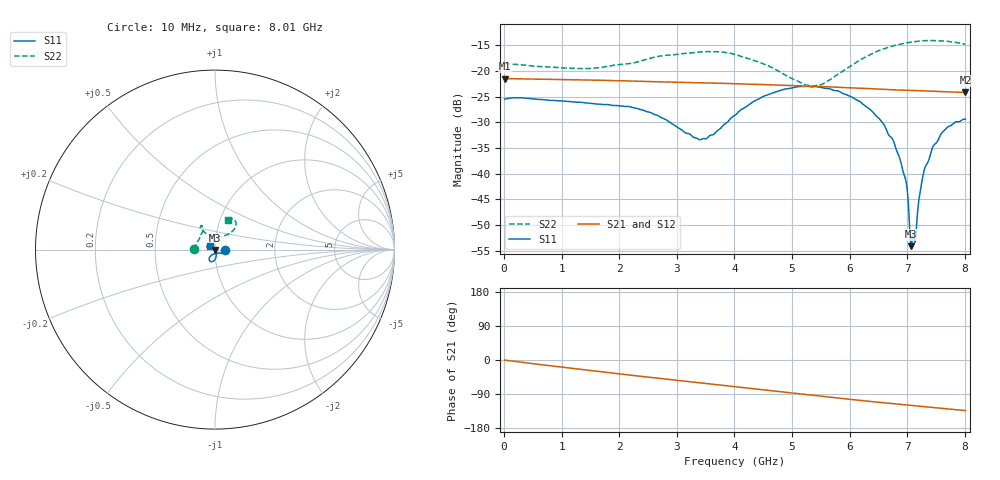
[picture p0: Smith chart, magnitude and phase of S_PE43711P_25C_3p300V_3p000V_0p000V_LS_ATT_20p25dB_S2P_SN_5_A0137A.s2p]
! Device ID: PE43711P
! File Path: z:\PE43711P\CHAR_NOM_04282014\AMB\3p300\LS_ATT_20p25dB\PE43711P_AMB_3p300V_3p000V_0p000V_LS_ATT_20p25dB_S2P_SN_5_A0137A.s2p
! Serial: 5
! Lot: A0137A
! Temp: 25C
! VDD: 3.300
! VSS: 0.000
! Control_Hi: 3.000
! Control_Lo: 0.000
! Attenuation Step: 20.25dB
! Port 1: RF1
! Port 2: RF2
! ThroughPath:1-2
! IDD: 0.0001272719
! ISS: -1.171e-007
#  Hz  S  RI  R  50
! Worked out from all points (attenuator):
!   801 points, 10 MHz to 8.01 GHz, reference 50 ohm
!   highest |S21| = -21.46 dB at 10 MHz (marker M1); lowest = -24.2 dB at 8.01 GHz (marker M2)
!   lowest |S11| = -54.1 dB at 7.07 GHz (marker M3), VSWR 1.00, Z = 49.9 - j0.168 ohm
!   |S11| at or under -10 dB: start of sweep to end of sweep
!   |S22| runs from -23.0 to -14.0 dB; largest |S21 - S12| = 0.00019
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1e7  0.0532 0.000175  0.0845 -0.000388  0.0846 -0.000402  -0.1189 0.000961
1.35e9  0.0458 -0.0188  0.0745 -0.0347  0.0746 -0.0347  -0.0921 0.0519
2.17e9  0.0395 -0.0218  0.0619 -0.051  0.0619 -0.051  -0.0723 0.0935
2.68e9  0.0308 -0.0199  0.0525 -0.0587  0.0526 -0.0587  -0.0691 0.121
3.41e9  0.00531 -0.0208  0.0377 -0.0668  0.0377 -0.0668  -0.0745 0.1347
3.65e9  -0.00539 -0.0238  0.0328 -0.0688  0.0328 -0.0688  -0.0788 0.1335
4.01e9  -0.02 -0.0313  0.025 -0.0711  0.0249 -0.0712  -0.0809 0.1208
4.67e9  -0.0325 -0.0522  0.0104 -0.0726  0.0105 -0.0726  -0.0533 0.0929
5.35e9  -0.0223 -0.0665  -0.00358 -0.0711  -0.00356 -0.0712  0.00434 0.0708
6.17e9  0.00263 -0.0507  -0.0191 -0.0654  -0.0192 -0.0654  0.0868 0.0934
6.53e9  0.00731 -0.0327  -0.0249 -0.0618  -0.0249 -0.0619  0.1091 0.1179
6.68e9  0.00635 -0.0229  -0.027 -0.0603  -0.0269 -0.0604  0.1132 0.1285
6.79e9  0.00595 -0.0176  -0.0285 -0.0591  -0.0284 -0.0592  0.1156 0.136
6.96e9  0.00231 -0.00897  -0.0307 -0.0574  -0.0307 -0.0574  0.116 0.1461
6.99e9  0.00261 -0.00728  -0.0311 -0.0571  -0.0311 -0.0572  0.1164 0.1478
7.04e9  0.000949 -0.00294  -0.0318 -0.0566  -0.0317 -0.0566  0.116 0.1517
7.07e9  -0.00101 -0.00168  -0.0322 -0.0563  -0.0322 -0.0563  0.1152 0.1535
7.12e9  -0.0021 -0.000853  -0.0328 -0.0557  -0.0328 -0.0557  0.1145 0.1556
7.27e9  -0.00617 0.00701  -0.0348 -0.054  -0.0347 -0.054  0.1108 0.1639
7.45e9  -0.0123 0.0139  -0.0369 -0.0518  -0.037 -0.0518  0.1022 0.1703
7.68e9  -0.0196 0.0196  -0.0394 -0.049  -0.0394 -0.0489  0.0901 0.1741
8.01e9  -0.026 0.0219  -0.0425 -0.0449  -0.0427 -0.0448  0.0743 0.167
